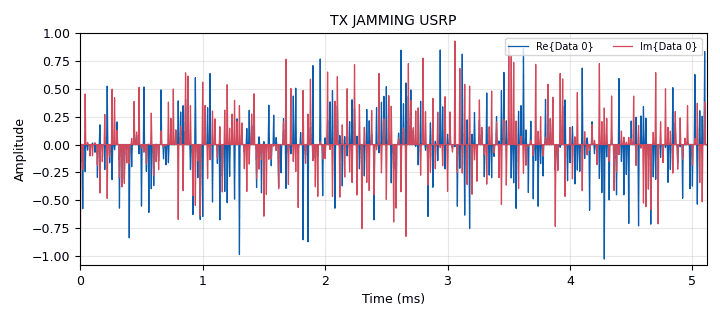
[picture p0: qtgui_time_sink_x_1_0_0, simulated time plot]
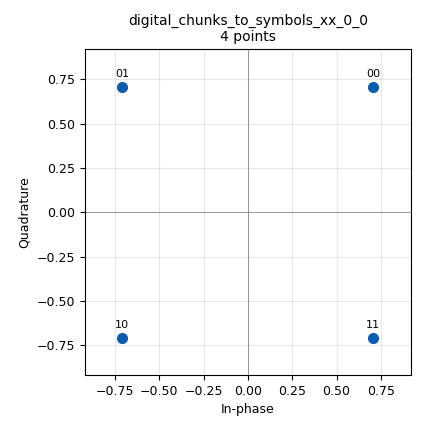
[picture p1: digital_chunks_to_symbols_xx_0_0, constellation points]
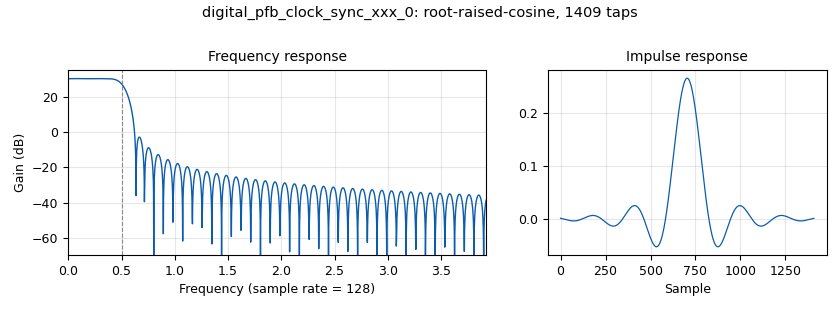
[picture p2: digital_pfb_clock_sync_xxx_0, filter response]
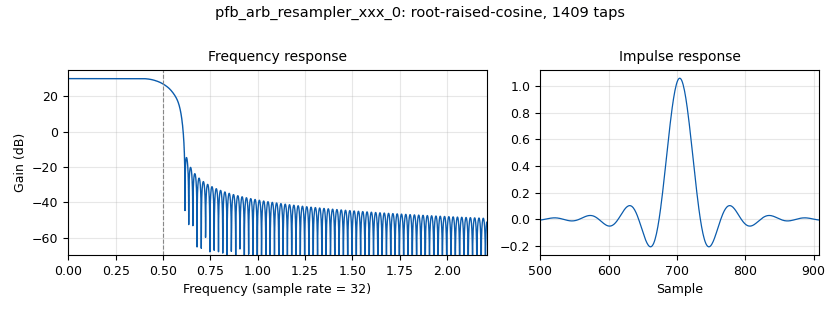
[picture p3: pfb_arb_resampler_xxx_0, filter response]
<?xml version='1.0' encoding='utf-8'?>
<?grc format='1' created='3.7.13'?>
<flow_graph>
<block>
<key>options</key>
<param><key>id</key><value>tx_no_gui</value></param>
<param><key>author</key><value>andresilva</value></param>
<param><key>generate_options</key><value>qt_gui</value></param>
<param><key>run_options</key><value>run</value></param>
</block>
<block>
<key>variable_ldpc_H_matrix_def</key>
<param><key>id</key><value>H</value></param>
<param><key>filename</key><value>/usr/local/share/gnuradio/fec/ldpc/n_1100_k_0442_gap_24.alist</value></param>
<param><key>gap</key><value>24</value></param>
</block>
<block>
<key>variable_ldpc_H_matrix_def</key>
<param><key>id</key><value>H_dec</value></param>
<param><key>filename</key><value>/usr/local/share/gnuradio/fec/ldpc/n_1100_k_0442_gap_24.alist</value></param>
<param><key>gap</key><value>24</value></param>
</block>
<block>
<key>variable</key>
<param><key>id</key><value>MCR</value></param>
<param><key>value</key><value>"master_clock_rate=60e6"</value></param>
</block>
<block>
<key>variable</key>
<param><key>id</key><value>MCR</value></param>
<param><key>_enabled</key><value>0</value></param>
<param><key>value</key><value>"master_clock_rate=18e6"</value></param>
</block>
<block>
<key>variable_qtgui_check_box</key>
<param><key>id</key><value>copy</value></param>
<param><key>value</key><value>True</value></param>
<param><key>_enabled</key><value>0</value></param>
<param><key>false</key><value>False</value></param>
<param><key>gui_hint</key><value>0,1</value></param>
<param><key>true</key><value>True</value></param>
<param><key>type</key><value>int</value></param>
</block>
<block>
<key>variable</key>
<param><key>id</key><value>eb</value></param>
<param><key>value</key><value>0.22</value></param>
</block>
<block>
<key>variable</key>
<param><key>id</key><value>filt_delay</value></param>
<param><key>_enabled</key><value>0</value></param>
<param><key>value</key><value>1+(taps_per_filt-1)/2</value></param>
</block>
<block>
<key>variable</key>
<param><key>id</key><value>frequencia_usrp</value></param>
<param><key>value</key><value>484e6</value></param>
</block>
<block>
<key>variable</key>
<param><key>id</key><value>nfilts</value></param>
<param><key>value</key><value>32</value></param>
</block>
<block>
<key>variable_constellation</key>
<param><key>id</key><value>pld_const</value></param>
<param><key>const_points</key><value>0.92387+0.38268j, 0.38268+0.92387j,  -0.38268+0.92387j, -0.92387+0.38268j, -0.92387-0.38268j, -0.38268-0.92387j, 0.38268-0.92387j, 0.92387-0.38268j</value></param>
<param><key>type</key><value>calcdist</value></param>
<param><key>dims</key><value>1</value></param>
<param><key>_enabled</key><value>0</value></param>
<param><key>rot_sym</key><value>4</value></param>
<param><key>soft_dec_lut</key><value>'auto'</value></param>
<param><key>precision</key><value>8</value></param>
<param><key>sym_map</key><value>[0, 1, 2, 3, 4, 5, 6, 7]</value></param>
</block>
<block>
<key>variable_constellation_rect</key>
<param><key>id</key><value>pld_const</value></param>
<param><key>const_points</key><value>[0.707+0.707j, -0.707+0.707j, -0.707-0.707j, 0.707-0.707j]</value></param>
<param><key>imag_sect</key><value>2</value></param>
<param><key>real_sect</key><value>2</value></param>
<param><key>rot_sym</key><value>4</value></param>
<param><key>soft_dec_lut</key><value>'auto'</value></param>
<param><key>sym_map</key><value>[0, 1, 2, 3]</value></param>
<param><key>w_imag_sect</key><value>1</value></param>
<param><key>w_real_sect</key><value>1</value></param>
</block>
<block>
<key>variable_ldpc_bit_flip_decoder_def</key>
<param><key>id</key><value>pld_dec</value></param>
<param><key>dim1</key><value>8</value></param>
<param><key>matrix_object</key><value>H_dec</value></param>
<param><key>max_iterations</key><value>100</value></param>
<param><key>ndim</key><value>1</value></param>
</block>
<block>
<key>variable_ldpc_encoder_H_def</key>
<param><key>id</key><value>pld_enc</value></param>
<param><key>dim1</key><value>4</value></param>
<param><key>ndim</key><value>1</value></param>
<param><key>H</key><value>H</value></param>
</block>
<block>
<key>variable_rrc_filter_taps</key>
<param><key>id</key><value>rx_rrc_taps</value></param>
<param><key>alpha</key><value>eb</value></param>
<param><key>gain</key><value>nfilts</value></param>
<param><key>ntaps</key><value>11*sps*nfilts</value></param>
<param><key>samp_rate</key><value>nfilts*sps</value></param>
<param><key>sym_rate</key><value>1.0</value></param>
</block>
<block>
<key>variable</key>
<param><key>id</key><value>samp_rate</value></param>
<param><key>value</key><value>samp_rate_array_MCR[17]</value></param>
</block>
<block>
<key>variable</key>
<param><key>id</key><value>samp_rate</value></param>
<param><key>_enabled</key><value>0</value></param>
<param><key>value</key><value>samp_rate_array_MCR[0]</value></param>
</block>
<block>
<key>variable</key>
<param><key>id</key><value>samp_rate_array_MCR</value></param>
<param><key>value</key><value>[7500000,5000000,3750000,3000000,2500000,2000000,1500000,1000000,937500,882352,833333,714285,533333,500000,421052,400000,380952,200000]</value></param>
</block>
<block>
<key>variable</key>
<param><key>id</key><value>samp_rate_array_MCR</value></param>
<param><key>_enabled</key><value>0</value></param>
<param><key>value</key><value>[4500000]</value></param>
</block>
<block>
<key>variable</key>
<param><key>id</key><value>sps</value></param>
<param><key>value</key><value>4</value></param>
</block>
<block>
<key>variable</key>
<param><key>id</key><value>taps_per_filt</value></param>
<param><key>_enabled</key><value>0</value></param>
<param><key>value</key><value>len(tx_rrc_taps)/nfilts</value></param>
</block>
<block>
<key>variable_rrc_filter_taps</key>
<param><key>id</key><value>tx_rrc_taps</value></param>
<param><key>alpha</key><value>eb</value></param>
<param><key>gain</key><value>nfilts</value></param>
<param><key>ntaps</key><value>11*sps*nfilts</value></param>
<param><key>samp_rate</key><value>nfilts</value></param>
<param><key>sym_rate</key><value>1.0</value></param>
</block>
<block>
<key>variable_qtgui_check_box</key>
<param><key>id</key><value>variable_qtgui_check_box_0</value></param>
<param><key>value</key><value>True</value></param>
<param><key>_enabled</key><value>0</value></param>
<param><key>false</key><value>False</value></param>
<param><key>gui_hint</key><value>0,1</value></param>
<param><key>label</key><value>ENABLE JAM</value></param>
<param><key>true</key><value>True</value></param>
<param><key>type</key><value>int</value></param>
</block>
<block>
<key>variable_qtgui_range</key>
<param><key>id</key><value>variable_qtgui_range_0_0</value></param>
<param><key>value</key><value>43</value></param>
<param><key>gui_hint</key><value>0,2</value></param>
<param><key>label</key><value>Gain_TX</value></param>
<param><key>orient</key><value>Qt.Horizontal</value></param>
<param><key>start</key><value>0</value></param>
<param><key>step</key><value>1</value></param>
<param><key>stop</key><value>90</value></param>
</block>
<block>
<key>variable_qtgui_range</key>
<param><key>id</key><value>variable_qtgui_range_0_0_0</value></param>
<param><key>value</key><value>52</value></param>
<param><key>gui_hint</key><value>0,4</value></param>
<param><key>label</key><value>Gain_Jamming</value></param>
<param><key>orient</key><value>Qt.Horizontal</value></param>
<param><key>start</key><value>0</value></param>
<param><key>step</key><value>1</value></param>
<param><key>stop</key><value>90</value></param>
</block>
<block>
<key>variable_qtgui_range</key>
<param><key>id</key><value>variable_qtgui_range_0_1</value></param>
<param><key>value</key><value>30</value></param>
<param><key>gui_hint</key><value>0,3</value></param>
<param><key>label</key><value>Gain_RX</value></param>
<param><key>orient</key><value>Qt.Horizontal</value></param>
<param><key>start</key><value>0</value></param>
<param><key>step</key><value>1</value></param>
<param><key>stop</key><value>73</value></param>
</block>
<block>
<key>variable_qtgui_range</key>
<param><key>id</key><value>variable_qtgui_range_0_1_0</value></param>
<param><key>value</key><value>48</value></param>
<param><key>gui_hint</key><value>0,1</value></param>
<param><key>label</key><value>Gain_RX_EVE</value></param>
<param><key>orient</key><value>Qt.Horizontal</value></param>
<param><key>start</key><value>0</value></param>
<param><key>step</key><value>1</value></param>
<param><key>stop</key><value>73</value></param>
</block>
<block>
<key>variable</key>
<param><key>id</key><value>vector</value></param>
<param><key>value</key><value>[int(random.random()*4) for i in range(49600)]</value></param>
</block>
<block>
<key>blocks_vector_source_x</key>
<param><key>id</key><value>acode_1104_0</value></param>
<param><key>comment</key><value>64 bits of Access Code +
16 bits of Lenght of the Payload (138 bytes) + 
16 bits of Lenght of the Payload (138 bytes) + 
96 bits of Header</value></param>
<param><key>type</key><value>byte</value></param>
<param><key>repeat</key><value>True</value></param>
<param><key>vector</key><value>[0x1, 0x0, 0x1, 0x0, 0x1, 0x1, 0x0, 0x0, 0x1, 0x1, 0x0, 0x1, 0x1, 0x1, 0x0, 0x1, 0x1, 0x0, 0x1, 0x0, 0x0, 0x1, 0x0, 0x0, 0x1, 0x1, 0x1, 0x0, 0x0, 0x0, 0x1, 0x0, 0x1, 0x1, 0x1, 0x1, 0x0, 0x0, 0x1, 0x0, 0x1, 0x0, 0x0, 0x0, 0x1, 0x1, 0x0, 0x0, 0x0, 0x0, 0x1, 0x0, 0x0, 0x0, 0x0, 0x0, 0x1, 0x1, 0x1, 0x1, 0x1, 0x1, 0x0, 0x0, 0x0, 0x0, 0x0, 0x0, 0x0, 0x0, 0x0, 0x0, 0x1, 0x0, 0x0, 0x0, 0x1, 0x0, 0x1, 0x0, 0x0, 0x0, 0x0, 0x0, 0x0, 0x0, 0x0, 0x0, 0x1, 0x0, 0x0, 0x0, 0x1, 0x0, 0x1, 0x0]</value></param>
</block>
<block>
<key>adapt_lms_filter_xx</key>
<param><key>id</key><value>adapt_lms_filter_xx_0</value></param>
<param><key>adapt</key><value>True</value></param>
<param><key>bypass</key><value>False</value></param>
<param><key>decimation</key><value>1</value></param>
<param><key>filtered_input</key><value>True</value></param>
<param><key>first_input</key><value>True</value></param>
<param><key>num_taps</key><value>32</value></param>
<param><key>reset</key><value>False</value></param>
<param><key>skip</key><value>0</value></param>
<param><key>type</key><value>cc</value></param>
<param><key>mu</key><value>0.0001</value></param>
</block>
<block>
<key>analog_noise_source_x</key>
<param><key>id</key><value>analog_noise_source_x_0_0</value></param>
<param><key>amp</key><value>1</value></param>
<param><key>noise_type</key><value>analog.GR_GAUSSIAN</value></param>
<param><key>type</key><value>complex</value></param>
<param><key>seed</key><value>-5</value></param>
</block>
<block>
<key>blocks_char_to_float</key>
<param><key>id</key><value>blocks_char_to_float_0_0</value></param>
<param><key>_enabled</key><value>0</value></param>
<param><key>scale</key><value>1</value></param>
</block>
<block>
<key>blocks_char_to_float</key>
<param><key>id</key><value>blocks_char_to_float_0_2_0_0_0</value></param>
<param><key>scale</key><value>1</value></param>
</block>
<block>
<key>blocks_char_to_float</key>
<param><key>id</key><value>blocks_char_to_float_0_2_0_0_0_0</value></param>
<param><key>scale</key><value>1</value></param>
</block>
<block>
<key>blocks_char_to_float</key>
<param><key>id</key><value>blocks_char_to_float_1_0_0</value></param>
<param><key>_enabled</key><value>0</value></param>
<param><key>scale</key><value>1</value></param>
</block>
<block>
<key>blocks_char_to_float</key>
<param><key>id</key><value>blocks_char_to_float_1_0_1</value></param>
<param><key>scale</key><value>1</value></param>
</block>
<block>
<key>blocks_char_to_float</key>
<param><key>id</key><value>blocks_char_to_float_1_0_1_0</value></param>
<param><key>scale</key><value>1</value></param>
</block>
<block>
<key>blocks_copy</key>
<param><key>id</key><value>blocks_copy_0</value></param>
<param><key>_enabled</key><value>0</value></param>
<param><key>enabled</key><value>copy</value></param>
<param><key>showports</key><value>True</value></param>
<param><key>type</key><value>complex</value></param>
</block>
<block>
<key>blocks_copy</key>
<param><key>id</key><value>blocks_copy_0_0</value></param>
<param><key>_enabled</key><value>0</value></param>
<param><key>enabled</key><value>variable_qtgui_check_box_0</value></param>
<param><key>showports</key><value>True</value></param>
<param><key>type</key><value>complex</value></param>
</block>
<block>
<key>blocks_delay</key>
<param><key>id</key><value>blocks_delay_0</value></param>
<param><key>delay</key><value>500000</value></param>
<param><key>type</key><value>complex</value></param>
</block>
<block>
<key>blocks_file_sink</key>
<param><key>id</key><value>blocks_file_sink_0_0_0_0</value></param>
<param><key>file</key><value>/home/andre/Desktop/Trasmited/depois3.txt</value></param>
<param><key>type</key><value>byte</value></param>
</block>
<block>
<key>blocks_file_sink</key>
<param><key>id</key><value>blocks_file_sink_0_0_0_0_0</value></param>
<param><key>file</key><value>/home/andre/Desktop/Trasmited/depois_eve.txt</value></param>
<param><key>type</key><value>byte</value></param>
</block>
<block>
<key>blocks_file_source</key>
<param><key>id</key><value>blocks_file_source_0_0_1_0</value></param>
<param><key>_enabled</key><value>0</value></param>
<param><key>file</key><value>/home/andre/Desktop/Files_To_Transmit/trasmit_10_mb.txt</value></param>
<param><key>type</key><value>byte</value></param>
<param><key>repeat</key><value>False</value></param>
</block>
<block>
<key>blocks_file_source</key>
<param><key>id</key><value>blocks_file_source_0_0_1_0_0</value></param>
<param><key>_enabled</key><value>0</value></param>
<param><key>file</key><value>/home/andre/Desktop/Files_To_Transmit/videofhd.mpg</value></param>
<param><key>type</key><value>byte</value></param>
<param><key>repeat</key><value>False</value></param>
</block>
<block>
<key>blocks_file_source</key>
<param><key>id</key><value>blocks_file_source_0_0_1_0_0_0</value></param>
<param><key>_enabled</key><value>0</value></param>
<param><key>file</key><value>/home/andre/Desktop/Files_To_Transmit/video_lion.mpeg</value></param>
<param><key>type</key><value>byte</value></param>
<param><key>repeat</key><value>False</value></param>
</block>
<block>
<key>blocks_file_source</key>
<param><key>id</key><value>blocks_file_source_0_0_1_0_0_0_0</value></param>
<param><key>_enabled</key><value>0</value></param>
<param><key>file</key><value>/home/andre/Desktop/Files_To_Transmit/img.jpg</value></param>
<param><key>type</key><value>byte</value></param>
<param><key>repeat</key><value>False</value></param>
</block>
<block>
<key>blocks_file_source</key>
<param><key>id</key><value>blocks_file_source_0_0_1_0_0_0_0_0</value></param>
<param><key>_enabled</key><value>0</value></param>
<param><key>file</key><value>/home/andre/Desktop/Files_To_Transmit/wall.jpg</value></param>
<param><key>type</key><value>byte</value></param>
<param><key>repeat</key><value>False</value></param>
</block>
<block>
<key>blocks_file_source</key>
<param><key>id</key><value>blocks_file_source_0_0_1_0_1</value></param>
<param><key>file</key><value>/home/andre/Desktop/Files_To_Transmit/book.txt</value></param>
<param><key>type</key><value>byte</value></param>
<param><key>repeat</key><value>False</value></param>
</block>
<block>
<key>blocks_keep_m_in_n</key>
<param><key>id</key><value>blocks_keep_m_in_n_0_0_2_0_0</value></param>
<param><key>comment</key><value>Use when Constellation Soft Decoder</value></param>
<param><key>m</key><value>1100</value></param>
<param><key>n</key><value>1104</value></param>
<param><key>type</key><value>byte</value></param>
<param><key>offset</key><value>0</value></param>
</block>
<block>
<key>blocks_keep_m_in_n</key>
<param><key>id</key><value>blocks_keep_m_in_n_0_0_2_0_0_0</value></param>
<param><key>comment</key><value>Use when Constellation Soft Decoder</value></param>
<param><key>m</key><value>1100</value></param>
<param><key>n</key><value>1104</value></param>
<param><key>type</key><value>byte</value></param>
<param><key>offset</key><value>0</value></param>
</block>
<block>
<key>blocks_keep_m_in_n</key>
<param><key>id</key><value>blocks_keep_m_in_n_0_1_1_0</value></param>
<param><key>m</key><value>440</value></param>
<param><key>n</key><value>442</value></param>
<param><key>type</key><value>byte</value></param>
<param><key>offset</key><value>0</value></param>
</block>
<block>
<key>blocks_keep_m_in_n</key>
<param><key>id</key><value>blocks_keep_m_in_n_0_1_1_0_0</value></param>
<param><key>m</key><value>440</value></param>
<param><key>n</key><value>442</value></param>
<param><key>type</key><value>byte</value></param>
<param><key>offset</key><value>0</value></param>
</block>
<block>
<key>blocks_multiply_const_vxx</key>
<param><key>id</key><value>blocks_multiply_const_vxx_1</value></param>
<param><key>const</key><value>0.7</value></param>
<param><key>type</key><value>complex</value></param>
</block>
<block>
<key>blocks_multiply_const_vxx</key>
<param><key>id</key><value>blocks_multiply_const_vxx_1_0</value></param>
<param><key>const</key><value>0.5</value></param>
<param><key>type</key><value>complex</value></param>
</block>
<block>
<key>blocks_null_sink</key>
<param><key>id</key><value>blocks_null_sink_0</value></param>
<param><key>bus_conns</key><value>[[0,],]</value></param>
<param><key>type</key><value>complex</value></param>
</block>
<block>
<key>blocks_null_sink</key>
<param><key>id</key><value>blocks_null_sink_1</value></param>
<param><key>bus_conns</key><value>[[0,],]</value></param>
<param><key>type</key><value>complex</value></param>
</block>
<block>
<key>blocks_repack_bits_bb</key>
<param><key>id</key><value>blocks_repack_bits_bb_0</value></param>
<param><key>k</key><value>pld_const.bits_per_symbol()</value></param>
<param><key>l</key><value>1</value></param>
<param><key>endianness</key><value>gr.GR_MSB_FIRST</value></param>
<param><key>len_tag_key</key><value></value></param>
</block>
<block>
<key>blocks_repack_bits_bb</key>
<param><key>id</key><value>blocks_repack_bits_bb_0_0</value></param>
<param><key>k</key><value>2</value></param>
<param><key>l</key><value>8</value></param>
<param><key>endianness</key><value>gr.GR_MSB_FIRST</value></param>
</block>
<block>
<key>blocks_repack_bits_bb</key>
<param><key>id</key><value>blocks_repack_bits_bb_0_0_0</value></param>
<param><key>k</key><value>2</value></param>
<param><key>l</key><value>8</value></param>
<param><key>endianness</key><value>gr.GR_MSB_FIRST</value></param>
<param><key>len_tag_key</key><value></value></param>
</block>
<block>
<key>blocks_repack_bits_bb</key>
<param><key>id</key><value>blocks_repack_bits_bb_0_0_0_1_0</value></param>
<param><key>k</key><value>1</value></param>
<param><key>l</key><value>8</value></param>
<param><key>endianness</key><value>gr.GR_MSB_FIRST</value></param>
<param><key>len_tag_key</key><value></value></param>
</block>
<block>
<key>blocks_repack_bits_bb</key>
<param><key>id</key><value>blocks_repack_bits_bb_0_0_0_1_0_0</value></param>
<param><key>k</key><value>1</value></param>
<param><key>l</key><value>8</value></param>
<param><key>endianness</key><value>gr.GR_MSB_FIRST</value></param>
<param><key>len_tag_key</key><value></value></param>
</block>
<block>
<key>blocks_repack_bits_bb</key>
<param><key>id</key><value>blocks_repack_bits_bb_0_1</value></param>
<param><key>k</key><value>pld_const.bits_per_symbol()</value></param>
<param><key>l</key><value>1</value></param>
<param><key>endianness</key><value>gr.GR_MSB_FIRST</value></param>
<param><key>len_tag_key</key><value></value></param>
</block>
<block>
<key>blocks_repack_bits_bb</key>
<param><key>id</key><value>blocks_repack_bits_bb_1</value></param>
<param><key>k</key><value>2</value></param>
<param><key>l</key><value>8</value></param>
<param><key>endianness</key><value>gr.GR_MSB_FIRST</value></param>
</block>
<block>
<key>blocks_repack_bits_bb</key>
<param><key>id</key><value>blocks_repack_bits_bb_1_0_0_0</value></param>
<param><key>k</key><value>1</value></param>
<param><key>l</key><value>pld_const.bits_per_symbol()</value></param>
<param><key>endianness</key><value>gr.GR_MSB_FIRST</value></param>
<param><key>len_tag_key</key><value></value></param>
</block>
<block>
<key>blocks_repack_bits_bb</key>
<param><key>id</key><value>blocks_repack_bits_bb_1_0_0_1</value></param>
<param><key>k</key><value>8</value></param>
<param><key>l</key><value>1</value></param>
<param><key>endianness</key><value>gr.GR_MSB_FIRST</value></param>
<param><key>len_tag_key</key><value></value></param>
</block>
<block>
<key>blocks_stream_mux</key>
<param><key>id</key><value>blocks_stream_mux_0_0</value></param>
<param><key>lengths</key><value>440, 2</value></param>
<param><key>type</key><value>byte</value></param>
</block>
<block>
<key>blocks_stream_mux</key>
<param><key>id</key><value>blocks_stream_mux_0_0_0</value></param>
<param><key>lengths</key><value>1100, 4</value></param>
<param><key>type</key><value>byte</value></param>
</block>
<block>
<key>blocks_stream_mux</key>
<param><key>id</key><value>blocks_stream_mux_0_1_0_0</value></param>
<param><key>comment</key><value>96 bits of Header + 1104
 (138
 bytes) of payload</value></param>
<param><key>lengths</key><value>96, 1104</value></param>
<param><key>type</key><value>byte</value></param>
</block>
<block>
<key>blocks_vector_source_x</key>
<param><key>id</key><value>blocks_vector_source_x_0_0</value></param>
<param><key>type</key><value>byte</value></param>
<param><key>repeat</key><value>True</value></param>
<param><key>vector</key><value>[0]</value></param>
</block>
<block>
<key>blocks_vector_source_x</key>
<param><key>id</key><value>blocks_vector_source_x_0_0_0</value></param>
<param><key>type</key><value>byte</value></param>
<param><key>repeat</key><value>True</value></param>
<param><key>vector</key><value>[0]</value></param>
</block>
<block>
<key>correlate_and_delay_corr_and_delay</key>
<param><key>id</key><value>custom_corr</value></param>
<param><key>interval</key><value>0</value></param>
<param><key>number_bits</key><value>200*sps</value></param>
<param><key>sps</key><value>sps</value></param>
<param><key>threshold</key><value>0.99</value></param>
</block>
<block>
<key>digital_chunks_to_symbols_xx</key>
<param><key>id</key><value>digital_chunks_to_symbols_xx_0_0</value></param>
<param><key>dimension</key><value>1</value></param>
<param><key>in_type</key><value>byte</value></param>
<param><key>out_type</key><value>complex</value></param>
<param><key>symbol_table</key><value>pld_const.points()</value></param>
</block>
<block>
<key>digital_cma_equalizer_cc</key>
<param><key>id</key><value>digital_cma_equalizer_cc_0</value></param>
<param><key>_enabled</key><value>2</value></param>
<param><key>mu</key><value>0.01</value></param>
<param><key>modulus</key><value>1</value></param>
<param><key>num_taps</key><value>15</value></param>
<param><key>sps</key><value>2</value></param>
</block>
<block>
<key>digital_cma_equalizer_cc</key>
<param><key>id</key><value>digital_cma_equalizer_cc_0_0</value></param>
<param><key>_enabled</key><value>2</value></param>
<param><key>mu</key><value>0.01</value></param>
<param><key>modulus</key><value>1</value></param>
<param><key>num_taps</key><value>15</value></param>
<param><key>sps</key><value>2</value></param>
</block>
<block>
<key>digital_constellation_decoder_cb</key>
<param><key>id</key><value>digital_constellation_decoder_cb_0</value></param>
<param><key>constellation</key><value>pld_const</value></param>
</block>
<block>
<key>digital_constellation_decoder_cb</key>
<param><key>id</key><value>digital_constellation_decoder_cb_0_0</value></param>
<param><key>constellation</key><value>pld_const</value></param>
</block>
<block>
<key>digital_correlate_access_code_xx_ts</key>
<param><key>id</key><value>digital_correlate_access_code_xx_ts_0_0</value></param>
<param><key>access_code</key><value>digital.packet_utils.default_access_code</value></param>
<param><key>type</key><value>byte</value></param>
<param><key>tagname</key><value>packet_len</value></param>
<param><key>threshold</key><value>4</value></param>
</block>
<block>
<key>digital_correlate_access_code_xx_ts</key>
<param><key>id</key><value>digital_correlate_access_code_xx_ts_0_0_0</value></param>
<param><key>access_code</key><value>digital.packet_utils.default_access_code</value></param>
<param><key>type</key><value>byte</value></param>
<param><key>tagname</key><value>packet_len</value></param>
<param><key>threshold</key><value>4</value></param>
</block>
<block>
<key>digital_costas_loop_cc</key>
<param><key>id</key><value>digital_costas_loop_cc_0_0</value></param>
<param><key>w</key><value>6.28/100.0</value></param>
<param><key>order</key><value>pld_const.arity()</value></param>
</block>
<block>
<key>digital_costas_loop_cc</key>
<param><key>id</key><value>digital_costas_loop_cc_0_0_0</value></param>
<param><key>w</key><value>6.28/100.0</value></param>
<param><key>order</key><value>pld_const.arity()</value></param>
</block>
<block>
<key>digital_diff_decoder_bb</key>
<param><key>id</key><value>digital_diff_decoder_bb_0</value></param>
<param><key>modulus</key><value>pld_const.arity()</value></param>
</block>
<block>
<key>digital_diff_decoder_bb</key>
<param><key>id</key><value>digital_diff_decoder_bb_0_0</value></param>
<param><key>modulus</key><value>pld_const.arity()</value></param>
</block>
<block>
<key>digital_diff_encoder_bb</key>
<param><key>id</key><value>digital_diff_encoder_bb_0</value></param>
<param><key>modulus</key><value>pld_const.arity()</value></param>
</block>
<block>
<key>digital_map_bb</key>
<param><key>id</key><value>digital_map_bb_0_0_0_0_0_0</value></param>
<param><key>map</key><value>[-1, 1]</value></param>
</block>
<block>
<key>digital_map_bb</key>
<param><key>id</key><value>digital_map_bb_0_0_0_0_0_0_0</value></param>
<param><key>map</key><value>[-1, 1]</value></param>
</block>
<block>
<key>digital_pfb_clock_sync_xxx</key>
<param><key>id</key><value>digital_pfb_clock_sync_xxx_0</value></param>
<param><key>filter_size</key><value>nfilts</value></param>
<param><key>init_phase</key><value>nfilts/2</value></param>
<param><key>loop_bw</key><value>6.28/100.0</value></param>
<param><key>max_dev</key><value>1.5</value></param>
<param><key>osps</key><value>1</value></param>
<param><key>sps</key><value>sps</value></param>
<param><key>taps</key><value>rx_rrc_taps</value></param>
<param><key>type</key><value>ccf</value></param>
</block>
<block>
<key>digital_pfb_clock_sync_xxx</key>
<param><key>id</key><value>digital_pfb_clock_sync_xxx_0_0</value></param>
<param><key>filter_size</key><value>nfilts</value></param>
<param><key>init_phase</key><value>nfilts/2</value></param>
<param><key>loop_bw</key><value>6.28/100.0</value></param>
<param><key>max_dev</key><value>1.5</value></param>
<param><key>osps</key><value>1</value></param>
<param><key>sps</key><value>sps</value></param>
<param><key>taps</key><value>rx_rrc_taps</value></param>
<param><key>type</key><value>ccf</value></param>
</block>
<block>
<key>fec_ber_bf</key>
<param><key>id</key><value>fec_ber_bf_0</value></param>
<param><key>test_mode</key><value>False</value></param>
</block>
<block>
<key>fec_ber_bf</key>
<param><key>id</key><value>fec_ber_bf_0_0</value></param>
<param><key>test_mode</key><value>False</value></param>
</block>
<block>
<key>fec_extended_decoder</key>
<param><key>id</key><value>fec_extended_decoder_0_0_1_0_1_0_0</value></param>
<param><key>decoder_list</key><value>pld_dec</value></param>
<param><key>puncpat</key><value>puncpat</value></param>
<param><key>threadtype</key><value>capillary</value></param>
</block>
<block>
<key>fec_extended_decoder</key>
<param><key>id</key><value>fec_extended_decoder_0_0_1_0_1_0_0_0</value></param>
<param><key>decoder_list</key><value>pld_dec</value></param>
<param><key>puncpat</key><value>puncpat</value></param>
<param><key>threadtype</key><value>capillary</value></param>
</block>
<block>
<key>fec_extended_encoder</key>
<param><key>id</key><value>fec_extended_encoder_0</value></param>
<param><key>encoder_list</key><value>pld_enc</value></param>
<param><key>puncpat</key><value>puncpat</value></param>
<param><key>threadtype</key><value>capillary</value></param>
</block>
<block>
<key>import</key>
<param><key>id</key><value>import_0</value></param>
<param><key>import</key><value>import random</value></param>
</block>
<block>
<key>insert_vec_cpp_new_vec</key>
<param><key>id</key><value>insert_vec_cpp_new_vec_0</value></param>
<param><key>vec</key><value>vector</value></param>
</block>
<block>
<key>interp_fir_filter_xxx</key>
<param><key>id</key><value>interp_fir_filter_xxx_1</value></param>
<param><key>interp</key><value>4</value></param>
<param><key>taps</key><value>[1,0,0,0]</value></param>
<param><key>type</key><value>ccc</value></param>
</block>
<block>
<key>virtual_sink</key>
<param><key>id</key><value>mod_payload</value></param>
<param><key>stream_id</key><value>Packet_modulated</value></param>
</block>
<block>
<key>pfb_arb_resampler_xxx</key>
<param><key>id</key><value>pfb_arb_resampler_xxx_0</value></param>
<param><key>nfilts</key><value>nfilts</value></param>
<param><key>rrate</key><value>sps</value></param>
<param><key>atten</key><value>100</value></param>
<param><key>taps</key><value>tx_rrc_taps</value></param>
<param><key>type</key><value>ccf</value></param>
</block>
<block>
<key>parameter</key>
<param><key>id</key><value>puncpat</value></param>
<param><key>type</key><value>string</value></param>
<param><key>value</key><value>'11'</value></param>
</block>
<block>
<key>qtgui_const_sink_x</key>
<param><key>id</key><value>qtgui_const_sink_x_0_0_0</value></param>
<param><key>gui_hint</key><value>2,2</value></param>
<param><key>name</key><value>"RX Treated"</value></param>
<param><key>size</key><value>1024</value></param>
<param><key>type</key><value>complex</value></param>
</block>
<block>
<key>qtgui_const_sink_x</key>
<param><key>id</key><value>qtgui_const_sink_x_0_0_0_0</value></param>
<param><key>gui_hint</key><value>1,2</value></param>
<param><key>name</key><value>"TX Const"</value></param>
<param><key>size</key><value>1024</value></param>
<param><key>type</key><value>complex</value></param>
</block>
<block>
<key>qtgui_const_sink_x</key>
<param><key>id</key><value>qtgui_const_sink_x_0_0_0_1</value></param>
<param><key>gui_hint</key><value>2,1</value></param>
<param><key>name</key><value>"RX Const"</value></param>
<param><key>size</key><value>1024</value></param>
<param><key>type</key><value>complex</value></param>
</block>
<block>
<key>qtgui_const_sink_x</key>
<param><key>id</key><value>qtgui_const_sink_x_0_0_0_1_0</value></param>
<param><key>gui_hint</key><value>4,1</value></param>
<param><key>name</key><value>"RX Const EVE"</value></param>
<param><key>size</key><value>1024</value></param>
<param><key>type</key><value>complex</value></param>
</block>
<block>
<key>qtgui_const_sink_x</key>
<param><key>id</key><value>qtgui_const_sink_x_0_0_0_2</value></param>
<param><key>gui_hint</key><value>4,2</value></param>
<param><key>name</key><value>"RX Treated EVE"</value></param>
<param><key>size</key><value>1024</value></param>
<param><key>type</key><value>complex</value></param>
</block>
<block>
<key>qtgui_freq_sink_x</key>
<param><key>id</key><value>qtgui_freq_sink_x_0</value></param>
<param><key>bw</key><value>samp_rate</value></param>
<param><key>fc</key><value>0</value></param>
<param><key>_enabled</key><value>0</value></param>
<param><key>fftsize</key><value>1024</value></param>
<param><key>gui_hint</key><value>0,3</value></param>
<param><key>showports</key><value>True</value></param>
<param><key>type</key><value>complex</value></param>
<param><key>wintype</key><value>firdes.WIN_BLACKMAN_hARRIS</value></param>
</block>
<block>
<key>qtgui_number_sink</key>
<param><key>id</key><value>qtgui_number_sink_0_0</value></param>
<param><key>autoscale</key><value>True</value></param>
<param><key>gui_hint</key><value>5,1,1,2</value></param>
<param><key>graph_type</key><value>qtgui.NUM_GRAPH_HORIZ</value></param>
<param><key>type</key><value>float</value></param>
<param><key>color1</key><value>("blue", "red")</value></param>
<param><key>label1</key><value>BER</value></param>
<param><key>max</key><value>10</value></param>
<param><key>min</key><value>-10</value></param>
<param><key>name</key><value>"ALICE-BOB"</value></param>
</block>
<block>
<key>qtgui_number_sink</key>
<param><key>id</key><value>qtgui_number_sink_0_0_0</value></param>
<param><key>autoscale</key><value>True</value></param>
<param><key>gui_hint</key><value>5,3,1,2</value></param>
<param><key>graph_type</key><value>qtgui.NUM_GRAPH_HORIZ</value></param>
<param><key>type</key><value>float</value></param>
<param><key>color1</key><value>("blue", "red")</value></param>
<param><key>label1</key><value>BER</value></param>
<param><key>max</key><value>10</value></param>
<param><key>min</key><value>-10</value></param>
<param><key>name</key><value>"ALICE-EVE"</value></param>
</block>
<block>
<key>qtgui_time_sink_x</key>
<param><key>id</key><value>qtgui_time_sink_x_0_0</value></param>
<param><key>_enabled</key><value>0</value></param>
<param><key>gui_hint</key><value>1,1</value></param>
<param><key>grid</key><value>True</value></param>
<param><key>color1</key><value>"blue"</value></param>
<param><key>label1</key><value></value></param>
<param><key>name</key><value>Tx Data</value></param>
<param><key>size</key><value>100*2</value></param>
<param><key>srate</key><value>samp_rate</value></param>
<param><key>tr_tag</key><value>packet_length_tag_key</value></param>
<param><key>type</key><value>float</value></param>
<param><key>ymax</key><value>256</value></param>
</block>
<block>
<key>qtgui_time_sink_x</key>
<param><key>id</key><value>qtgui_time_sink_x_0_1</value></param>
<param><key>autoscale</key><value>True</value></param>
<param><key>gui_hint</key><value>2,3</value></param>
<param><key>grid</key><value>True</value></param>
<param><key>color1</key><value>"blue"</value></param>
<param><key>label1</key><value></value></param>
<param><key>name</key><value>Rx Data</value></param>
<param><key>size</key><value>100*2</value></param>
<param><key>srate</key><value>samp_rate</value></param>
<param><key>tr_tag</key><value>packet_length_tag_key</value></param>
<param><key>type</key><value>float</value></param>
<param><key>ymax</key><value>256</value></param>
</block>
<block>
<key>qtgui_time_sink_x</key>
<param><key>id</key><value>qtgui_time_sink_x_0_1_0</value></param>
<param><key>autoscale</key><value>True</value></param>
<param><key>gui_hint</key><value>4,3</value></param>
<param><key>grid</key><value>True</value></param>
<param><key>color1</key><value>"blue"</value></param>
<param><key>label1</key><value></value></param>
<param><key>name</key><value>Rx Data</value></param>
<param><key>size</key><value>100*2</value></param>
<param><key>srate</key><value>samp_rate</value></param>
<param><key>tr_tag</key><value>packet_length_tag_key</value></param>
<param><key>type</key><value>float</value></param>
<param><key>ymax</key><value>256</value></param>
</block>
<block>
<key>qtgui_time_sink_x</key>
<param><key>id</key><value>qtgui_time_sink_x_1</value></param>
<param><key>_enabled</key><value>0</value></param>
<param><key>gui_hint</key><value>1,3</value></param>
<param><key>color1</key><value>"blue"</value></param>
<param><key>label1</key><value></value></param>
<param><key>color2</key><value>"red"</value></param>
<param><key>label2</key><value></value></param>
<param><key>name</key><value>"TX USRP"</value></param>
<param><key>size</key><value>1024</value></param>
<param><key>srate</key><value>samp_rate</value></param>
<param><key>type</key><value>complex</value></param>
</block>
<block>
<key>qtgui_time_sink_x</key>
<param><key>id</key><value>qtgui_time_sink_x_1_0</value></param>
<param><key>gui_hint</key><value>1,3</value></param>
<param><key>color1</key><value>"blue"</value></param>
<param><key>label1</key><value></value></param>
<param><key>color2</key><value>"red"</value></param>
<param><key>label2</key><value></value></param>
<param><key>name</key><value>"RX USRP"</value></param>
<param><key>size</key><value>1024</value></param>
<param><key>srate</key><value>samp_rate</value></param>
<param><key>type</key><value>complex</value></param>
</block>
<block>
<key>qtgui_time_sink_x</key>
<param><key>id</key><value>qtgui_time_sink_x_1_0_0</value></param>
<param><key>gui_hint</key><value>1,1</value></param>
<param><key>color1</key><value>"blue"</value></param>
<param><key>label1</key><value></value></param>
<param><key>color2</key><value>"red"</value></param>
<param><key>label2</key><value></value></param>
<param><key>name</key><value>"TX JAMMING USRP"</value></param>
<param><key>size</key><value>1024</value></param>
<param><key>srate</key><value>samp_rate</value></param>
<param><key>type</key><value>complex</value></param>
</block>
<block>
<key>qtgui_time_sink_x</key>
<param><key>id</key><value>qtgui_time_sink_x_2_0</value></param>
<param><key>_enabled</key><value>0</value></param>
<param><key>gui_hint</key><value>2,2</value></param>
<param><key>grid</key><value>True</value></param>
<param><key>color1</key><value>"blue"</value></param>
<param><key>label1</key><value></value></param>
<param><key>name</key><value>"After CAC"</value></param>
<param><key>size</key><value>1024</value></param>
<param><key>srate</key><value>samp_rate</value></param>
<param><key>type</key><value>float</value></param>
<param><key>ymax</key><value>1.5</value></param>
<param><key>ymin</key><value>0</value></param>
</block>
<block>
<key>virtual_source</key>
<param><key>id</key><value>rx_mod_payload</value></param>
<param><key>stream_id</key><value>Packet_modulated</value></param>
</block>
<block>
<key>scrambler_cpp_additive_descrambler</key>
<param><key>id</key><value>scrambler_cpp_additive_descrambler_0</value></param>
<param><key>frame_bits</key><value>440-32</value></param>
<param><key>len</key><value>7</value></param>
<param><key>mask</key><value>0x8A</value></param>
<param><key>seed</key><value>0x7F</value></param>
</block>
<block>
<key>scrambler_cpp_additive_descrambler</key>
<param><key>id</key><value>scrambler_cpp_additive_descrambler_0_0</value></param>
<param><key>frame_bits</key><value>440-32</value></param>
<param><key>len</key><value>7</value></param>
<param><key>mask</key><value>0x8A</value></param>
<param><key>seed</key><value>0x7F</value></param>
</block>
<block>
<key>scrambler_cpp_additive_scrambler</key>
<param><key>id</key><value>scrambler_cpp_additive_scrambler_0</value></param>
<param><key>frame_bits</key><value>440-32</value></param>
<param><key>len</key><value>7</value></param>
<param><key>mask</key><value>0x8A</value></param>
<param><key>seed</key><value>0x7F</value></param>
</block>
<block>
<key>scrambler_cpp_custom_scrambler</key>
<param><key>id</key><value>scrambler_cpp_custom_scrambler_0</value></param>
<param><key>_enabled</key><value>0</value></param>
<param><key>frame_bits</key><value>440-32</value></param>
<param><key>len</key><value>7</value></param>
<param><key>mask</key><value>0x8A</value></param>
<param><key>seed</key><value>0x7F</value></param>
</block>
<block>
<key>scrambler_packets_same_seed_scramble_packetize</key>
<param><key>id</key><value>scrambler_packets_same_seed_scramble_packetize_0</value></param>
<param><key>_enabled</key><value>0</value></param>
<param><key>frame_bit</key><value>440</value></param>
<param><key>len</key><value>7</value></param>
<param><key>mask</key><value>0x8A</value></param>
<param><key>seed</key><value>0x7F</value></param>
</block>
<block>
<key>uhd_usrp_sink</key>
<param><key>id</key><value>uhd_usrp_sink_0</value></param>
<param><key>ant0</key><value>TX/RX</value></param>
<param><key>center_freq0</key><value>frequencia_usrp</value></param>
<param><key>norm_gain0</key><value>False</value></param>
<param><key>gain0</key><value>variable_qtgui_range_0_0_0</value></param>
<param><key>clock_rate</key><value>0.0</value></param>
<param><key>dev_addr</key><value>"serial=F5EAC0"</value></param>
<param><key>dev_args</key><value>""</value></param>
<param><key>type</key><value>fc32</value></param>
<param><key>sd_spec0</key><value>A:B</value></param>
<param><key>samp_rate</key><value>samp_rate</value></param>
<param><key>hide_cmd_port</key><value>False</value></param>
<param><key>hide_lo_controls</key><value>True</value></param>
<param><key>sync</key><value>pc_clock</value></param>
<param><key>len_tag_name</key><value></value></param>
</block>
<block>
<key>uhd_usrp_sink</key>
<param><key>id</key><value>uhd_usrp_sink_0_0</value></param>
<param><key>ant0</key><value>TX/RX</value></param>
<param><key>center_freq0</key><value>frequencia_usrp</value></param>
<param><key>norm_gain0</key><value>False</value></param>
<param><key>gain0</key><value>variable_qtgui_range_0_0</value></param>
<param><key>clock_rate</key><value>0.0</value></param>
<param><key>dev_addr</key><value>"serial=F5EAE1"</value></param>
<param><key>dev_args</key><value>MCR</value></param>
<param><key>type</key><value>fc32</value></param>
<param><key>samp_rate</key><value>samp_rate</value></param>
<param><key>hide_cmd_port</key><value>False</value></param>
<param><key>hide_lo_controls</key><value>True</value></param>
<param><key>sync</key><value>pc_clock</value></param>
<param><key>len_tag_name</key><value></value></param>
</block>
<block>
<key>uhd_usrp_source</key>
<param><key>id</key><value>uhd_usrp_source_0_0</value></param>
<param><key>ant0</key><value>TX/RX</value></param>
<param><key>center_freq0</key><value>frequencia_usrp</value></param>
<param><key>dc_offs_enb0</key><value>True</value></param>
<param><key>iq_imbal_enb0</key><value>True</value></param>
<param><key>norm_gain0</key><value>False</value></param>
<param><key>gain0</key><value>variable_qtgui_range_0_1</value></param>
<param><key>clock_rate</key><value>0.0</value></param>
<param><key>dev_addr</key><value>"serial=F5EAC0"</value></param>
<param><key>dev_args</key><value>MCR</value></param>
<param><key>type</key><value>fc32</value></param>
<param><key>samp_rate</key><value>samp_rate</value></param>
<param><key>hide_cmd_port</key><value>False</value></param>
<param><key>hide_lo_controls</key><value>True</value></param>
<param><key>sync</key><value>pc_clock</value></param>
</block>
<block>
<key>uhd_usrp_source</key>
<param><key>id</key><value>uhd_usrp_source_0_0_0</value></param>
<param><key>ant0</key><value>TX/RX</value></param>
<param><key>center_freq0</key><value>frequencia_usrp</value></param>
<param><key>dc_offs_enb0</key><value>True</value></param>
<param><key>iq_imbal_enb0</key><value>True</value></param>
<param><key>norm_gain0</key><value>False</value></param>
<param><key>gain0</key><value>variable_qtgui_range_0_1_0</value></param>
<param><key>clock_rate</key><value>0.0</value></param>
<param><key>dev_addr</key><value>"serial=F5EB09"</value></param>
<param><key>dev_args</key><value>MCR</value></param>
<param><key>type</key><value>fc32</value></param>
<param><key>samp_rate</key><value>samp_rate</value></param>
<param><key>hide_cmd_port</key><value>False</value></param>
<param><key>hide_lo_controls</key><value>True</value></param>
<param><key>sync</key><value>pc_clock</value></param>
</block>
<block>
<key>virtual_sink</key>
<param><key>id</key><value>virtual_sink_0</value></param>
<param><key>stream_id</key><value>OUT_ALICE</value></param>
</block>
<block>
<key>virtual_sink</key>
<param><key>id</key><value>virtual_sink_0_0</value></param>
<param><key>stream_id</key><value>Payload_encoded</value></param>
</block>
<block>
<key>virtual_sink</key>
<param><key>id</key><value>virtual_sink_0_0_0</value></param>
<param><key>stream_id</key><value>Packet</value></param>
</block>
<block>
<key>virtual_sink</key>
<param><key>id</key><value>virtual_sink_0_0_1</value></param>
<param><key>stream_id</key><value>Packet_eve</value></param>
</block>
<block>
<key>virtual_sink</key>
<param><key>id</key><value>virtual_sink_0_1</value></param>
<param><key>stream_id</key><value>Recived_treated</value></param>
</block>
<block>
<key>virtual_sink</key>
<param><key>id</key><value>virtual_sink_0_1_0</value></param>
<param><key>stream_id</key><value>Recived_treated_eve</value></param>
</block>
<block>
<key>virtual_sink</key>
<param><key>id</key><value>virtual_sink_1</value></param>
<param><key>stream_id</key><value>IN_BOB</value></param>
</block>
<block>
<key>virtual_sink</key>
<param><key>id</key><value>virtual_sink_1_0_0</value></param>
<param><key>stream_id</key><value>Packet_encoded</value></param>
</block>
<block>
<key>virtual_sink</key>
<param><key>id</key><value>virtual_sink_2</value></param>
<param><key>stream_id</key><value>IN_EVE</value></param>
</block>
<block>
<key>virtual_source</key>
<param><key>id</key><value>virtual_source_0</value></param>
<param><key>stream_id</key><value>Recived_treated</value></param>
</block>
<block>
<key>virtual_source</key>
<param><key>id</key><value>virtual_source_0_0</value></param>
<param><key>stream_id</key><value>Packet_encoded</value></param>
</block>
<block>
<key>virtual_source</key>
<param><key>id</key><value>virtual_source_0_0_0_0</value></param>
<param><key>stream_id</key><value>Packet</value></param>
</block>
<block>
<key>virtual_source</key>
<param><key>id</key><value>virtual_source_0_0_0_0_0</value></param>
<param><key>stream_id</key><value>Packet_eve</value></param>
</block>
<block>
<key>virtual_source</key>
<param><key>id</key><value>virtual_source_0_1</value></param>
<param><key>stream_id</key><value>Recived_treated_eve</value></param>
</block>
<block>
<key>virtual_source</key>
<param><key>id</key><value>virtual_source_1</value></param>
<param><key>stream_id</key><value>OUT_ALICE</value></param>
</block>
<block>
<key>virtual_source</key>
<param><key>id</key><value>virtual_source_1_0</value></param>
<param><key>stream_id</key><value>OUT_ALICE</value></param>
</block>
<block>
<key>virtual_source</key>
<param><key>id</key><value>virtual_source_2</value></param>
<param><key>stream_id</key><value>IN_BOB</value></param>
</block>
<block>
<key>virtual_source</key>
<param><key>id</key><value>virtual_source_3</value></param>
<param><key>stream_id</key><value>IN_EVE</value></param>
</block>
<block>
<key>virtual_source</key>
<param><key>id</key><value>virtual_source_4</value></param>
<param><key>stream_id</key><value>Payload_encoded</value></param>
</block>
<connection><source_block_id>acode_1104_0</source_block_id><sink_block_id>blocks_stream_mux_0_1_0_0</sink_block_id><source_key>0</source_key><sink_key>0</sink_key></connection>
<connection><source_block_id>adapt_lms_filter_xx_0</source_block_id><sink_block_id>digital_pfb_clock_sync_xxx_0</sink_block_id><source_key>1</source_key><sink_key>0</sink_key></connection>
<connection><source_block_id>adapt_lms_filter_xx_0</source_block_id><sink_block_id>blocks_null_sink_0</sink_block_id><source_key>0</source_key><sink_key>0</sink_key></connection>
<connection><source_block_id>analog_noise_source_x_0_0</source_block_id><sink_block_id>interp_fir_filter_xxx_1</sink_block_id><source_key>0</source_key><sink_key>0</sink_key></connection>
<connection><source_block_id>blocks_char_to_float_0_0</source_block_id><sink_block_id>qtgui_time_sink_x_2_0</sink_block_id><source_key>0</source_key><sink_key>0</sink_key></connection>
<connection><source_block_id>blocks_char_to_float_0_2_0_0_0</source_block_id><sink_block_id>fec_extended_decoder_0_0_1_0_1_0_0</sink_block_id><source_key>0</source_key><sink_key>0</sink_key></connection>
<connection><source_block_id>blocks_char_to_float_0_2_0_0_0_0</source_block_id><sink_block_id>fec_extended_decoder_0_0_1_0_1_0_0_0</sink_block_id><source_key>0</source_key><sink_key>0</sink_key></connection>
<connection><source_block_id>blocks_char_to_float_1_0_0</source_block_id><sink_block_id>qtgui_time_sink_x_0_0</sink_block_id><source_key>0</source_key><sink_key>0</sink_key></connection>
<connection><source_block_id>blocks_char_to_float_1_0_1</source_block_id><sink_block_id>qtgui_time_sink_x_0_1</sink_block_id><source_key>0</source_key><sink_key>0</sink_key></connection>
<connection><source_block_id>blocks_char_to_float_1_0_1_0</source_block_id><sink_block_id>qtgui_time_sink_x_0_1_0</sink_block_id><source_key>0</source_key><sink_key>0</sink_key></connection>
<connection><source_block_id>blocks_copy_0</source_block_id><sink_block_id>blocks_multiply_const_vxx_1</sink_block_id><source_key>0</source_key><sink_key>0</sink_key></connection>
<connection><source_block_id>blocks_copy_0_0</source_block_id><sink_block_id>uhd_usrp_sink_0</sink_block_id><source_key>0</source_key><sink_key>0</sink_key></connection>
<connection><source_block_id>blocks_delay_0</source_block_id><sink_block_id>qtgui_const_sink_x_0_0_0_0</sink_block_id><source_key>0</source_key><sink_key>0</sink_key></connection>
<connection><source_block_id>blocks_delay_0</source_block_id><sink_block_id>qtgui_freq_sink_x_0</sink_block_id><source_key>0</source_key><sink_key>0</sink_key></connection>
<connection><source_block_id>blocks_delay_0</source_block_id><sink_block_id>qtgui_time_sink_x_1</sink_block_id><source_key>0</source_key><sink_key>0</sink_key></connection>
<connection><source_block_id>blocks_delay_0</source_block_id><sink_block_id>uhd_usrp_sink_0_0</sink_block_id><source_key>0</source_key><sink_key>0</sink_key></connection>
<connection><source_block_id>blocks_file_source_0_0_1_0</source_block_id><sink_block_id>blocks_char_to_float_1_0_0</sink_block_id><source_key>0</source_key><sink_key>0</sink_key></connection>
<connection><source_block_id>blocks_file_source_0_0_1_0</source_block_id><sink_block_id>blocks_repack_bits_bb_1_0_0_1</sink_block_id><source_key>0</source_key><sink_key>0</sink_key></connection>
<connection><source_block_id>blocks_file_source_0_0_1_0_0</source_block_id><sink_block_id>blocks_char_to_float_1_0_0</sink_block_id><source_key>0</source_key><sink_key>0</sink_key></connection>
<connection><source_block_id>blocks_file_source_0_0_1_0_0</source_block_id><sink_block_id>blocks_repack_bits_bb_1_0_0_1</sink_block_id><source_key>0</source_key><sink_key>0</sink_key></connection>
<connection><source_block_id>blocks_file_source_0_0_1_0_0_0</source_block_id><sink_block_id>blocks_char_to_float_1_0_0</sink_block_id><source_key>0</source_key><sink_key>0</sink_key></connection>
<connection><source_block_id>blocks_file_source_0_0_1_0_0_0</source_block_id><sink_block_id>blocks_repack_bits_bb_1_0_0_1</sink_block_id><source_key>0</source_key><sink_key>0</sink_key></connection>
<connection><source_block_id>blocks_file_source_0_0_1_0_0_0_0</source_block_id><sink_block_id>blocks_repack_bits_bb_1_0_0_1</sink_block_id><source_key>0</source_key><sink_key>0</sink_key></connection>
<connection><source_block_id>blocks_file_source_0_0_1_0_0_0_0_0</source_block_id><sink_block_id>blocks_repack_bits_bb_1_0_0_1</sink_block_id><source_key>0</source_key><sink_key>0</sink_key></connection>
<connection><source_block_id>blocks_file_source_0_0_1_0_1</source_block_id><sink_block_id>blocks_char_to_float_1_0_0</sink_block_id><source_key>0</source_key><sink_key>0</sink_key></connection>
<connection><source_block_id>blocks_file_source_0_0_1_0_1</source_block_id><sink_block_id>blocks_repack_bits_bb_1_0_0_1</sink_block_id><source_key>0</source_key><sink_key>0</sink_key></connection>
<connection><source_block_id>blocks_keep_m_in_n_0_0_2_0_0</source_block_id><sink_block_id>digital_map_bb_0_0_0_0_0_0</sink_block_id><source_key>0</source_key><sink_key>0</sink_key></connection>
<connection><source_block_id>blocks_keep_m_in_n_0_0_2_0_0_0</source_block_id><sink_block_id>digital_map_bb_0_0_0_0_0_0_0</sink_block_id><source_key>0</source_key><sink_key>0</sink_key></connection>
<connection><source_block_id>blocks_keep_m_in_n_0_1_1_0</source_block_id><sink_block_id>scrambler_cpp_additive_descrambler_0</sink_block_id><source_key>0</source_key><sink_key>0</sink_key></connection>
<connection><source_block_id>blocks_keep_m_in_n_0_1_1_0_0</source_block_id><sink_block_id>scrambler_cpp_additive_descrambler_0_0</sink_block_id><source_key>0</source_key><sink_key>0</sink_key></connection>
<connection><source_block_id>blocks_multiply_const_vxx_1</source_block_id><sink_block_id>blocks_delay_0</sink_block_id><source_key>0</source_key><sink_key>0</sink_key></connection>
<connection><source_block_id>blocks_multiply_const_vxx_1_0</source_block_id><sink_block_id>blocks_copy_0_0</sink_block_id><source_key>0</source_key><sink_key>0</sink_key></connection>
<connection><source_block_id>blocks_multiply_const_vxx_1_0</source_block_id><sink_block_id>custom_corr</sink_block_id><source_key>0</source_key><sink_key>0</sink_key></connection>
<connection><source_block_id>blocks_multiply_const_vxx_1_0</source_block_id><sink_block_id>qtgui_time_sink_x_1_0_0</sink_block_id><source_key>0</source_key><sink_key>0</sink_key></connection>
<connection><source_block_id>blocks_multiply_const_vxx_1_0</source_block_id><sink_block_id>uhd_usrp_sink_0</sink_block_id><source_key>0</source_key><sink_key>0</sink_key></connection>
<connection><source_block_id>blocks_repack_bits_bb_0</source_block_id><sink_block_id>digital_correlate_access_code_xx_ts_0_0</sink_block_id><source_key>0</source_key><sink_key>0</sink_key></connection>
<connection><source_block_id>blocks_repack_bits_bb_0_0</source_block_id><sink_block_id>virtual_sink_0</sink_block_id><source_key>0</source_key><sink_key>0</sink_key></connection>
<connection><source_block_id>blocks_repack_bits_bb_0_0_0</source_block_id><sink_block_id>virtual_sink_1</sink_block_id><source_key>0</source_key><sink_key>0</sink_key></connection>
<connection><source_block_id>blocks_repack_bits_bb_0_0_0_1_0</source_block_id><sink_block_id>blocks_char_to_float_1_0_1</sink_block_id><source_key>0</source_key><sink_key>0</sink_key></connection>
<connection><source_block_id>blocks_repack_bits_bb_0_0_0_1_0</source_block_id><sink_block_id>blocks_file_sink_0_0_0_0</sink_block_id><source_key>0</source_key><sink_key>0</sink_key></connection>
<connection><source_block_id>blocks_repack_bits_bb_0_0_0_1_0_0</source_block_id><sink_block_id>blocks_char_to_float_1_0_1_0</sink_block_id><source_key>0</source_key><sink_key>0</sink_key></connection>
<connection><source_block_id>blocks_repack_bits_bb_0_0_0_1_0_0</source_block_id><sink_block_id>blocks_file_sink_0_0_0_0_0</sink_block_id><source_key>0</source_key><sink_key>0</sink_key></connection>
<connection><source_block_id>blocks_repack_bits_bb_0_1</source_block_id><sink_block_id>digital_correlate_access_code_xx_ts_0_0_0</sink_block_id><source_key>0</source_key><sink_key>0</sink_key></connection>
<connection><source_block_id>blocks_repack_bits_bb_1</source_block_id><sink_block_id>virtual_sink_2</sink_block_id><source_key>0</source_key><sink_key>0</sink_key></connection>
<connection><source_block_id>blocks_repack_bits_bb_1_0_0_0</source_block_id><sink_block_id>virtual_sink_1_0_0</sink_block_id><source_key>0</source_key><sink_key>0</sink_key></connection>
<connection><source_block_id>blocks_repack_bits_bb_1_0_0_1</source_block_id><sink_block_id>scrambler_cpp_additive_scrambler_0</sink_block_id><source_key>0</source_key><sink_key>0</sink_key></connection>
<connection><source_block_id>blocks_repack_bits_bb_1_0_0_1</source_block_id><sink_block_id>scrambler_cpp_custom_scrambler_0</sink_block_id><source_key>0</source_key><sink_key>0</sink_key></connection>
<connection><source_block_id>blocks_repack_bits_bb_1_0_0_1</source_block_id><sink_block_id>scrambler_packets_same_seed_scramble_packetize_0</sink_block_id><source_key>0</source_key><sink_key>0</sink_key></connection>
<connection><source_block_id>blocks_stream_mux_0_0</source_block_id><sink_block_id>fec_extended_encoder_0</sink_block_id><source_key>0</source_key><sink_key>0</sink_key></connection>
<connection><source_block_id>blocks_stream_mux_0_0_0</source_block_id><sink_block_id>virtual_sink_0_0</sink_block_id><source_key>0</source_key><sink_key>0</sink_key></connection>
<connection><source_block_id>blocks_stream_mux_0_1_0_0</source_block_id><sink_block_id>blocks_repack_bits_bb_1_0_0_0</sink_block_id><source_key>0</source_key><sink_key>0</sink_key></connection>
<connection><source_block_id>blocks_vector_source_x_0_0</source_block_id><sink_block_id>blocks_stream_mux_0_0</sink_block_id><source_key>0</source_key><sink_key>1</sink_key></connection>
<connection><source_block_id>blocks_vector_source_x_0_0_0</source_block_id><sink_block_id>blocks_stream_mux_0_0_0</sink_block_id><source_key>0</source_key><sink_key>1</sink_key></connection>
<connection><source_block_id>custom_corr</source_block_id><sink_block_id>blocks_null_sink_1</sink_block_id><source_key>2</source_key><sink_key>0</sink_key></connection>
<connection><source_block_id>custom_corr</source_block_id><sink_block_id>adapt_lms_filter_xx_0</sink_block_id><source_key>0</source_key><sink_key>1</sink_key></connection>
<connection><source_block_id>custom_corr</source_block_id><sink_block_id>adapt_lms_filter_xx_0</sink_block_id><source_key>1</source_key><sink_key>0</sink_key></connection>
<connection><source_block_id>digital_chunks_to_symbols_xx_0_0</source_block_id><sink_block_id>mod_payload</sink_block_id><source_key>0</source_key><sink_key>0</sink_key></connection>
<connection><source_block_id>digital_cma_equalizer_cc_0</source_block_id><sink_block_id>digital_costas_loop_cc_0_0_0</sink_block_id><source_key>0</source_key><sink_key>0</sink_key></connection>
<connection><source_block_id>digital_cma_equalizer_cc_0_0</source_block_id><sink_block_id>digital_costas_loop_cc_0_0</sink_block_id><source_key>0</source_key><sink_key>0</sink_key></connection>
<connection><source_block_id>digital_constellation_decoder_cb_0</source_block_id><sink_block_id>digital_diff_decoder_bb_0</sink_block_id><source_key>0</source_key><sink_key>0</sink_key></connection>
<connection><source_block_id>digital_constellation_decoder_cb_0_0</source_block_id><sink_block_id>digital_diff_decoder_bb_0_0</sink_block_id><source_key>0</source_key><sink_key>0</sink_key></connection>
<connection><source_block_id>digital_correlate_access_code_xx_ts_0_0</source_block_id><sink_block_id>virtual_sink_0_0_0</sink_block_id><source_key>0</source_key><sink_key>0</sink_key></connection>
<connection><source_block_id>digital_correlate_access_code_xx_ts_0_0_0</source_block_id><sink_block_id>blocks_char_to_float_0_0</sink_block_id><source_key>0</source_key><sink_key>0</sink_key></connection>
<connection><source_block_id>digital_correlate_access_code_xx_ts_0_0_0</source_block_id><sink_block_id>virtual_sink_0_0_1</sink_block_id><source_key>0</source_key><sink_key>0</sink_key></connection>
<connection><source_block_id>digital_costas_loop_cc_0_0</source_block_id><sink_block_id>qtgui_const_sink_x_0_0_0</sink_block_id><source_key>0</source_key><sink_key>0</sink_key></connection>
<connection><source_block_id>digital_costas_loop_cc_0_0</source_block_id><sink_block_id>virtual_sink_0_1</sink_block_id><source_key>0</source_key><sink_key>0</sink_key></connection>
<connection><source_block_id>digital_costas_loop_cc_0_0_0</source_block_id><sink_block_id>qtgui_const_sink_x_0_0_0_2</sink_block_id><source_key>0</source_key><sink_key>0</sink_key></connection>
<connection><source_block_id>digital_costas_loop_cc_0_0_0</source_block_id><sink_block_id>virtual_sink_0_1_0</sink_block_id><source_key>0</source_key><sink_key>0</sink_key></connection>
<connection><source_block_id>digital_diff_decoder_bb_0</source_block_id><sink_block_id>blocks_repack_bits_bb_0</sink_block_id><source_key>0</source_key><sink_key>0</sink_key></connection>
<connection><source_block_id>digital_diff_decoder_bb_0</source_block_id><sink_block_id>blocks_repack_bits_bb_0_0_0</sink_block_id><source_key>0</source_key><sink_key>0</sink_key></connection>
<connection><source_block_id>digital_diff_decoder_bb_0_0</source_block_id><sink_block_id>blocks_repack_bits_bb_0_1</sink_block_id><source_key>0</source_key><sink_key>0</sink_key></connection>
<connection><source_block_id>digital_diff_decoder_bb_0_0</source_block_id><sink_block_id>blocks_repack_bits_bb_1</sink_block_id><source_key>0</source_key><sink_key>0</sink_key></connection>
<connection><source_block_id>digital_diff_encoder_bb_0</source_block_id><sink_block_id>digital_chunks_to_symbols_xx_0_0</sink_block_id><source_key>0</source_key><sink_key>0</sink_key></connection>
<connection><source_block_id>digital_map_bb_0_0_0_0_0_0</source_block_id><sink_block_id>blocks_char_to_float_0_2_0_0_0</sink_block_id><source_key>0</source_key><sink_key>0</sink_key></connection>
<connection><source_block_id>digital_map_bb_0_0_0_0_0_0_0</source_block_id><sink_block_id>blocks_char_to_float_0_2_0_0_0_0</sink_block_id><source_key>0</source_key><sink_key>0</sink_key></connection>
<connection><source_block_id>digital_pfb_clock_sync_xxx_0</source_block_id><sink_block_id>digital_cma_equalizer_cc_0_0</sink_block_id><source_key>0</source_key><sink_key>0</sink_key></connection>
<connection><source_block_id>digital_pfb_clock_sync_xxx_0_0</source_block_id><sink_block_id>digital_cma_equalizer_cc_0</sink_block_id><source_key>0</source_key><sink_key>0</sink_key></connection>
<connection><source_block_id>fec_ber_bf_0</source_block_id><sink_block_id>qtgui_number_sink_0_0</sink_block_id><source_key>0</source_key><sink_key>0</sink_key></connection>
<connection><source_block_id>fec_ber_bf_0_0</source_block_id><sink_block_id>qtgui_number_sink_0_0_0</sink_block_id><source_key>0</source_key><sink_key>0</sink_key></connection>
<connection><source_block_id>fec_extended_decoder_0_0_1_0_1_0_0</source_block_id><sink_block_id>blocks_keep_m_in_n_0_1_1_0</sink_block_id><source_key>0</source_key><sink_key>0</sink_key></connection>
<connection><source_block_id>fec_extended_decoder_0_0_1_0_1_0_0_0</source_block_id><sink_block_id>blocks_keep_m_in_n_0_1_1_0_0</sink_block_id><source_key>0</source_key><sink_key>0</sink_key></connection>
<connection><source_block_id>fec_extended_encoder_0</source_block_id><sink_block_id>blocks_stream_mux_0_0_0</sink_block_id><source_key>0</source_key><sink_key>0</sink_key></connection>
<connection><source_block_id>insert_vec_cpp_new_vec_0</source_block_id><sink_block_id>blocks_repack_bits_bb_0_0</sink_block_id><source_key>0</source_key><sink_key>0</sink_key></connection>
<connection><source_block_id>insert_vec_cpp_new_vec_0</source_block_id><sink_block_id>digital_diff_encoder_bb_0</sink_block_id><source_key>0</source_key><sink_key>0</sink_key></connection>
<connection><source_block_id>interp_fir_filter_xxx_1</source_block_id><sink_block_id>blocks_multiply_const_vxx_1_0</sink_block_id><source_key>0</source_key><sink_key>0</sink_key></connection>
<connection><source_block_id>pfb_arb_resampler_xxx_0</source_block_id><sink_block_id>blocks_copy_0</sink_block_id><source_key>0</source_key><sink_key>0</sink_key></connection>
<connection><source_block_id>pfb_arb_resampler_xxx_0</source_block_id><sink_block_id>blocks_multiply_const_vxx_1</sink_block_id><source_key>0</source_key><sink_key>0</sink_key></connection>
<connection><source_block_id>rx_mod_payload</source_block_id><sink_block_id>pfb_arb_resampler_xxx_0</sink_block_id><source_key>0</source_key><sink_key>0</sink_key></connection>
<connection><source_block_id>scrambler_cpp_additive_descrambler_0</source_block_id><sink_block_id>blocks_repack_bits_bb_0_0_0_1_0</sink_block_id><source_key>0</source_key><sink_key>0</sink_key></connection>
<connection><source_block_id>scrambler_cpp_additive_descrambler_0_0</source_block_id><sink_block_id>blocks_repack_bits_bb_0_0_0_1_0_0</sink_block_id><source_key>0</source_key><sink_key>0</sink_key></connection>
<connection><source_block_id>scrambler_cpp_additive_scrambler_0</source_block_id><sink_block_id>blocks_stream_mux_0_0</sink_block_id><source_key>0</source_key><sink_key>0</sink_key></connection>
<connection><source_block_id>scrambler_cpp_custom_scrambler_0</source_block_id><sink_block_id>blocks_stream_mux_0_0</sink_block_id><source_key>0</source_key><sink_key>0</sink_key></connection>
<connection><source_block_id>scrambler_packets_same_seed_scramble_packetize_0</source_block_id><sink_block_id>blocks_stream_mux_0_0</sink_block_id><source_key>0</source_key><sink_key>0</sink_key></connection>
<connection><source_block_id>uhd_usrp_source_0_0</source_block_id><sink_block_id>custom_corr</sink_block_id><source_key>0</source_key><sink_key>1</sink_key></connection>
<connection><source_block_id>uhd_usrp_source_0_0</source_block_id><sink_block_id>qtgui_const_sink_x_0_0_0_1</sink_block_id><source_key>0</source_key><sink_key>0</sink_key></connection>
<connection><source_block_id>uhd_usrp_source_0_0</source_block_id><sink_block_id>qtgui_time_sink_x_1_0</sink_block_id><source_key>0</source_key><sink_key>0</sink_key></connection>
<connection><source_block_id>uhd_usrp_source_0_0_0</source_block_id><sink_block_id>digital_pfb_clock_sync_xxx_0_0</sink_block_id><source_key>0</source_key><sink_key>0</sink_key></connection>
<connection><source_block_id>uhd_usrp_source_0_0_0</source_block_id><sink_block_id>qtgui_const_sink_x_0_0_0_1_0</sink_block_id><source_key>0</source_key><sink_key>0</sink_key></connection>
<connection><source_block_id>virtual_source_0</source_block_id><sink_block_id>digital_constellation_decoder_cb_0</sink_block_id><source_key>0</source_key><sink_key>0</sink_key></connection>
<connection><source_block_id>virtual_source_0_0</source_block_id><sink_block_id>insert_vec_cpp_new_vec_0</sink_block_id><source_key>0</source_key><sink_key>0</sink_key></connection>
<connection><source_block_id>virtual_source_0_0_0_0</source_block_id><sink_block_id>blocks_keep_m_in_n_0_0_2_0_0</sink_block_id><source_key>0</source_key><sink_key>0</sink_key></connection>
<connection><source_block_id>virtual_source_0_0_0_0_0</source_block_id><sink_block_id>blocks_keep_m_in_n_0_0_2_0_0_0</sink_block_id><source_key>0</source_key><sink_key>0</sink_key></connection>
<connection><source_block_id>virtual_source_0_1</source_block_id><sink_block_id>digital_constellation_decoder_cb_0_0</sink_block_id><source_key>0</source_key><sink_key>0</sink_key></connection>
<connection><source_block_id>virtual_source_1</source_block_id><sink_block_id>fec_ber_bf_0</sink_block_id><source_key>0</source_key><sink_key>0</sink_key></connection>
<connection><source_block_id>virtual_source_1_0</source_block_id><sink_block_id>fec_ber_bf_0_0</sink_block_id><source_key>0</source_key><sink_key>0</sink_key></connection>
<connection><source_block_id>virtual_source_2</source_block_id><sink_block_id>fec_ber_bf_0</sink_block_id><source_key>0</source_key><sink_key>1</sink_key></connection>
<connection><source_block_id>virtual_source_3</source_block_id><sink_block_id>fec_ber_bf_0_0</sink_block_id><source_key>0</source_key><sink_key>1</sink_key></connection>
<connection><source_block_id>virtual_source_4</source_block_id><sink_block_id>blocks_stream_mux_0_1_0_0</sink_block_id><source_key>0</source_key><sink_key>1</sink_key></connection>
</flow_graph>
